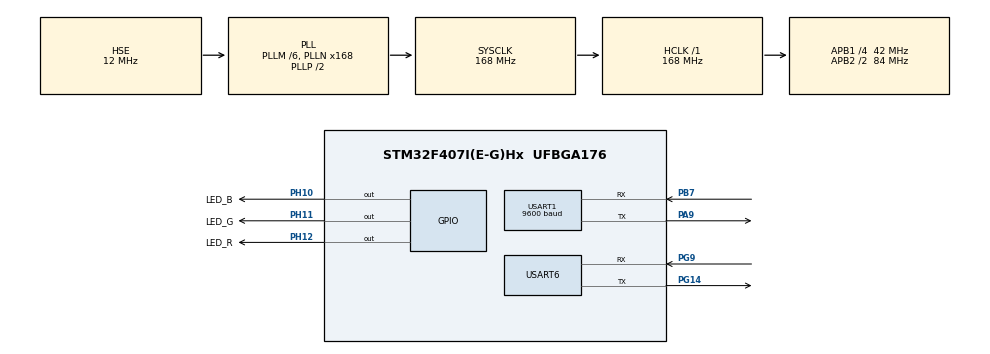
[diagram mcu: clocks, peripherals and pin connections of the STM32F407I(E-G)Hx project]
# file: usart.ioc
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Mcu.Family=STM32F4
Mcu.Name=STM32F407I(E-G)Hx
Mcu.Package=UFBGA176
NVIC.PriorityGroup=NVIC_PRIORITYGROUP_4
NVIC.USART1_IRQn=true\:0\:0\:false\:false\:false\:true\:true\:true
NVIC.USART6_IRQn=true\:0\:0\:false\:false\:false\:true\:true\:true
PA13.Mode=Serial_Wire
PA13.Signal=SYS_JTMS-SWDIO
PA14.Mode=Serial_Wire
PA14.Signal=SYS_JTCK-SWCLK
PA9.Mode=Asynchronous
PA9.Signal=USART1_TX
PB7.Mode=Asynchronous
PB7.Signal=USART1_RX
PD5.Signal=USART2_TX
PD6.Signal=USART2_RX
PG14.Mode=Asynchronous
PG14.Signal=USART6_TX
PG9.Mode=Asynchronous
PG9.Signal=USART6_RX
PH0-OSC_IN.Mode=HSE-External-Oscillator
PH0-OSC_IN.Signal=RCC_OSC_IN
PH1-OSC_OUT.Mode=HSE-External-Oscillator
PH1-OSC_OUT.Signal=RCC_OSC_OUT
PH10.GPIO_Label=LED_B
PH10.GPIO_PuPd=GPIO_PULLUP
PH10.GPIO_Speed=GPIO_SPEED_FREQ_HIGH
PH10.PinState=GPIO_PIN_SET
PH10.Signal=GPIO_Output
PH11.GPIO_Label=LED_G
PH11.GPIO_PuPd=GPIO_PULLUP
PH11.GPIO_Speed=GPIO_SPEED_FREQ_HIGH
PH11.PinState=GPIO_PIN_SET
PH11.Signal=GPIO_Output
PH12.GPIO_Label=LED_R
PH12.GPIO_PuPd=GPIO_PULLUP
PH12.GPIO_Speed=GPIO_SPEED_FREQ_HIGH
PH12.PinState=GPIO_PIN_SET
PH12.Signal=GPIO_Output
ProjectManager.HeapSize=0x200
ProjectManager.StackSize=0x400
ProjectManager.TargetToolchain=MDK-ARM V5
RCC.48MHZClocksFreq_Value=84000000
RCC.AHBFreq_Value=168000000
RCC.APB1CLKDivider=RCC_HCLK_DIV4
RCC.APB1Freq_Value=42000000
RCC.APB1TimFreq_Value=84000000
RCC.APB2CLKDivider=RCC_HCLK_DIV2
RCC.APB2Freq_Value=84000000
RCC.APB2TimFreq_Value=168000000
RCC.CortexFreq_Value=168000000
RCC.HCLKFreq_Value=168000000
RCC.HSE_VALUE=12000000
RCC.HSI_VALUE=16000000
RCC.LSE_VALUE=32768
RCC.PLLM=6
RCC.PLLN=168
RCC.PLLSourceVirtual=RCC_PLLSOURCE_HSE
RCC.SYSCLKFreq_VALUE=168000000
RCC.SYSCLKSource=RCC_SYSCLKSOURCE_PLLCLK
RCC.VCOOutputFreq_Value=336000000
USART1.BaudRate=9600
USART1.VirtualMode=VM_ASYNC
USART6.VirtualMode=VM_ASYNC
board=custom

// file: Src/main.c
/* USER CODE BEGIN Header */
/**
  ******************************************************************************
  * @file           : main.c
  * @brief          : Main program body
  ******************************************************************************
  * @attention
  *
  * <h2><center>&copy; Copyright (c) 2019 STMicroelectronics.
  * All rights reserved.</center></h2>
  *
  * This software component is licensed by ST under BSD 3-Clause license,
  * the "License"; You may not use this file except in compliance with the
  * License. You may obtain a copy of the License at:
  *                        opensource.org/licenses/BSD-3-Clause
  *
  ******************************************************************************
  */
/* USER CODE END Header */

#include "main.h"
#include "usart.h"
#include "gpio.h"
#include "ano.h"
#include "bsp_delay.h"

/* USER CODE BEGIN PV */
uint8_t rxbuf[50];
int m = 0;
/* USER CODE END PV */

void SystemClock_Config(void);

/* USER CODE BEGIN 0 */

void USART1_IRQHandler(void)
{
//    volatile uint8_t receive;
    //receive interrupt 接收中断
    if(huart1.Instance->SR & UART_FLAG_RXNE)
    {
			static int i1 = 0;//i1用来记录存在rx_buf哪个位置了
			if(i1 < 50)
			{
        rxbuf[i1] = huart1.Instance->DR;
				i1++;
				HAL_UART_Transmit(&huart1, "ok\r\n", 4, 100);
			}
			else
				i1 = 0;
    }
    //idle interrupt 空闲中断
//    else if(huart1.Instance->SR & UART_FLAG_IDLE)
//    {
//        receive = huart1.Instance->DR;
// //       HAL_GPIO_WritePin(LED_R_GPIO_Port, LED_R_Pin, GPIO_PIN_RESET);
//    }

}

void USART6_IRQHandler(void)
{

    volatile uint8_t receive;
    //receive interrupt 接收中断
    if(huart6.Instance->SR & UART_FLAG_RXNE)
    {
        receive = huart6.Instance->DR;
        HAL_GPIO_TogglePin(LED_G_GPIO_Port, LED_G_Pin);

    }
    //idle interrupt 空闲中断
    else if(huart6.Instance->SR & UART_FLAG_IDLE)
    {
        receive = huart6.Instance->DR;
        HAL_GPIO_WritePin(LED_G_GPIO_Port, LED_G_Pin, GPIO_PIN_RESET);
    }

}

/* USER CODE END 0 */

int main(void)
{

  /* MCU Configuration--------------------------------------------------------*/

  /* Reset of all peripherals, Initializes the Flash interface and the Systick. */
  HAL_Init();

  /* Configure the system clock */
  SystemClock_Config();

  /* Initialize all configured peripherals */
  MX_GPIO_Init();
  MX_USART1_UART_Init();
  MX_USART6_UART_Init();

  /* Infinite loop */
  while (1)
  {

    /* USER CODE BEGIN 3 */
    m ++;
		if(m > 100)
		{
			m = 0;
		}
    Ano_Send(2 , m ,m * 2);

  }
  /* USER CODE END 3 */
}

void SystemClock_Config(void)
{
  RCC_OscInitTypeDef RCC_OscInitStruct = {0};
  RCC_ClkInitTypeDef RCC_ClkInitStruct = {0};

  /** Configure the main internal regulator output voltage
  */
  __HAL_RCC_PWR_CLK_ENABLE();
  __HAL_PWR_VOLTAGESCALING_CONFIG(PWR_REGULATOR_VOLTAGE_SCALE1);
  /** Initializes the CPU, AHB and APB busses clocks
  */
  RCC_OscInitStruct.OscillatorType = RCC_OSCILLATORTYPE_HSE;
  RCC_OscInitStruct.HSEState = RCC_HSE_ON;
  RCC_OscInitStruct.PLL.PLLState = RCC_PLL_ON;
  RCC_OscInitStruct.PLL.PLLSource = RCC_PLLSOURCE_HSE;
  RCC_OscInitStruct.PLL.PLLM = 6;
  RCC_OscInitStruct.PLL.PLLN = 168;
  RCC_OscInitStruct.PLL.PLLP = RCC_PLLP_DIV2;
  RCC_OscInitStruct.PLL.PLLQ = 4;
  if (HAL_RCC_OscConfig(&RCC_OscInitStruct) != HAL_OK)
  {
    Error_Handler();
  }
  /** Initializes the CPU, AHB and APB busses clocks
  */
  RCC_ClkInitStruct.ClockType = RCC_CLOCKTYPE_HCLK|RCC_CLOCKTYPE_SYSCLK
                              |RCC_CLOCKTYPE_PCLK1|RCC_CLOCKTYPE_PCLK2;
  RCC_ClkInitStruct.SYSCLKSource = RCC_SYSCLKSOURCE_PLLCLK;
  RCC_ClkInitStruct.AHBCLKDivider = RCC_SYSCLK_DIV1;
  RCC_ClkInitStruct.APB1CLKDivider = RCC_HCLK_DIV4;
  RCC_ClkInitStruct.APB2CLKDivider = RCC_HCLK_DIV2;

  if (HAL_RCC_ClockConfig(&RCC_ClkInitStruct, FLASH_LATENCY_5) != HAL_OK)
  {
    Error_Handler();
  }
}

void Error_Handler(void)
{
}

/************************ (C) COPYRIGHT STMicroelectronics *****END OF FILE****/
